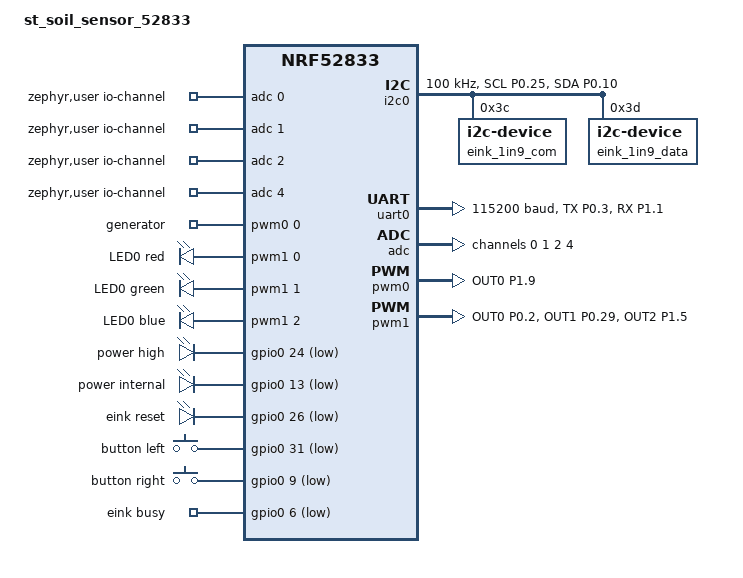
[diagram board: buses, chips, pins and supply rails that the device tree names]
// Copyright (c) 2023 Nordic Semiconductor ASA
// SPDX-License-Identifier: Apache-2.0

/dts-v1/;
#include <nordic/nrf52833_qiaa.dtsi>

/ {
	model = "st_soil_sensor_52833";
	compatible = "st-soil-sensor-52833";

	zephyr,user{
		io-channels = <&adc 0>, <&adc 1>, <&adc 2>, <&adc 4>;
        pwms = <&pwm0 0 1000 PWM_POLARITY_NORMAL>;
        pwm-names = "generator";
	};

	chosen {
		zephyr,sram = &sram0;
		zephyr,flash = &flash0;
		zephyr,code-partition = &slot0_partition;
		zephyr,console = &uart0;
	};

	pwmleds {
		compatible = "pwm-leds";
		status = "okay";
	
		led_pwm_0: led_pwm0 {
				status = "okay";
				pwms = <&pwm1 0 PWM_USEC(256) PWM_POLARITY_NORMAL>;
				label = "LED0 red";
		};
	
		led_pwm_1: led_pwm1 {
				status = "okay";
				pwms = <&pwm1 1 PWM_USEC(256) PWM_POLARITY_NORMAL>;
				label = "LED0 green";
		};
	
		led_pwm_2: led_pwm2 {
				status = "okay";
				pwms = <&pwm1 2 PWM_USEC(256) PWM_POLARITY_NORMAL>;
				label = "LED0 blue";
		};
	};

	outputs {
		compatible = "gpio-leds";
		 power_high_out: power_high {
			 gpios = <&gpio0 24 GPIO_ACTIVE_LOW>;
			 label = "power high";
		};   	 		        
		power_internal_out: power_internal {
			 gpios = <&gpio0 13 GPIO_ACTIVE_LOW>;
			 label = "power internal";
		};   	 		 	 		        
		eink_rst_out: eink_rst {
			 gpios = <&gpio0 26 GPIO_ACTIVE_LOW>;
			 label = "eink reset";
		};   	 				 	 		         		
	 };  

	buttons {
		compatible = "gpio-keys";
		button0: button_0 {
			gpios = <&gpio0 31 (GPIO_PULL_UP | GPIO_ACTIVE_LOW)>;
			label = "button left";
		};
		button1: button_1 {
			gpios = <&gpio0 9 (GPIO_PULL_UP | GPIO_ACTIVE_LOW)>;
			label = "button right";
		};
		eink_busy_in: eink_busy {
			gpios = <&gpio0 6 GPIO_ACTIVE_LOW>;
			label = "eink busy";
	   };   	
	};

	/* These aliases are provided for compatibility with samples */
	aliases {
		pwm-led-r = &led_pwm_0;
		pwm-led-g = &led_pwm_1;
		pwm-led-b = &led_pwm_2;
		button-left = &button0;
		button-right = &button1;
	};
};

&gpiote {
    status = "okay";
};

&gpio0 {
	status = "okay";
};

&gpio1 {
	status = "okay";
};

&i2c0 {
	status = "okay";
	pinctrl-0 = <&i2c0_default>;
	pinctrl-1 = <&i2c0_sleep>;
	pinctrl-names = "default", "sleep";
	clock-frequency = <I2C_BITRATE_STANDARD>;
	eink_1in9_com_i2c: eink@3C{
		status = "okay";
        compatible = "i2c-device";
        reg = < 0x3C >;
        label = "eink_1in9_com";
    };
	eink_1in9_data_i2c: eink@3D{
		status = "okay";
        compatible = "i2c-device";
        reg = < 0x3D >;
        label = "eink_1in9_data";
    };
};


&uart0 {
	status = "okay";
	// tx-pin = < 3 >;
	current-speed = <115200>;
	pinctrl-0 = < &uart0_default >;
	pinctrl-1 = <&uart0_sleep>;
	pinctrl-names = "default", "sleep";
};

&adc {
	status = "okay";
	#address-cells = <1>;
	#size-cells = <0>;

	channel@0 {
		reg = <0>;
		zephyr,gain = "ADC_GAIN_1_6";
		zephyr,reference = "ADC_REF_INTERNAL";
		// zephyr,acquisition-time = <ADC_ACQ_TIME(ADC_ACQ_TIME_MICROSECONDS, 20)>;
		zephyr,acquisition-time = < ADC_ACQ_TIME_DEFAULT >;
		zephyr,input-positive = <NRF_SAADC_AIN2>; /* P0.05 */
		zephyr,resolution = <12>;
	};

	channel@1 {
		reg = <1>;
		zephyr,gain = "ADC_GAIN_1_6";
		zephyr,reference = "ADC_REF_INTERNAL";
		// zephyr,acquisition-time = <ADC_ACQ_TIME(ADC_ACQ_TIME_MICROSECONDS, 20)>;
		zephyr,acquisition-time = < ADC_ACQ_TIME_DEFAULT >;
		zephyr,input-positive = <NRF_SAADC_AIN3>; /* P0.05 */
		zephyr,resolution = <12>;
	};

	channel@2 {
		reg = <2>;
		zephyr,gain = "ADC_GAIN_1_6";
		zephyr,reference = "ADC_REF_INTERNAL";
		// zephyr,acquisition-time = <ADC_ACQ_TIME(ADC_ACQ_TIME_MICROSECONDS, 20)>;
		zephyr,acquisition-time = < ADC_ACQ_TIME_DEFAULT >;
		zephyr,input-positive = <NRF_SAADC_AIN6>; /* P0.05 */
		zephyr,resolution = <12>;
	};

	channel@4 {
		reg = <4>;
		zephyr,gain = "ADC_GAIN_1_6";
		zephyr,reference = "ADC_REF_INTERNAL";
		// zephyr,acquisition-time = <ADC_ACQ_TIME(ADC_ACQ_TIME_MICROSECONDS, 20)>;
		zephyr,acquisition-time = < ADC_ACQ_TIME_DEFAULT >;
		zephyr,input-positive = <NRF_SAADC_VDD>; 
		zephyr,resolution = <12>;
	};
};


// SOMETHINKG NOT WORK WITH THAT
&pinctrl {
	pwm1_default: pwm1_default_alt {
		group1 {
				psels = <NRF_PSEL(PWM_OUT0, 0, 2)>,
						<NRF_PSEL(PWM_OUT1, 0, 29)>,
						<NRF_PSEL(PWM_OUT2, 1, 5)>;
				nordic,invert;
		};
	};
	pwm1_sleep: pwm1_sleep {
		group1 {
			psels = <NRF_PSEL(PWM_OUT0, 0, 2)>,
			<NRF_PSEL(PWM_OUT1, 0, 29)>,
			<NRF_PSEL(PWM_OUT2, 1, 5)>;
			nordic,invert;	
			low-power-enable;
		};
	};
	pwm0_default: pwm0_default_alt {
		group0 {
			psels = <NRF_PSEL(PWM_OUT0, 1, 9)>;
		};
	};
	pwm0_sleep: pwm0_sleep {
		group1 {
			psels = <NRF_PSEL(PWM_OUT0, 1, 9)>;
			nordic,invert;
			low-power-enable;
		};
	};
	uart0_default: uart0_default {
        group1 {
            psels = <NRF_PSEL(UART_TX, 0, 3)>;
        };
        group2 {
            psels = <NRF_PSEL(UART_RX, 1, 1)>;
            bias-pull-up;
        };
    };
	uart0_sleep: uart0_sleep {
		group1 {
            psels = <NRF_PSEL(UART_TX, 0, 3)>;
    		low-power-enable;
		};
        group2 {
            psels = <NRF_PSEL(UART_RX, 1, 1)>;
            bias-pull-up;
			low-power-enable;
	    };
	};

	i2c0_default: i2c0_default {
		group1 {
			psels = <NRF_PSEL(TWIM_SCL, 0, 25)>, <NRF_PSEL(TWIM_SDA, 0, 10)>;
		};
	};

	i2c0_sleep: i2c0_sleep {
		group1 {
			psels = <NRF_PSEL(TWIM_SCL, 0, 25)>, <NRF_PSEL(TWIM_SDA, 0, 10)>;
			low-power-enable;
		};
	};
};

&pwm0 {
    status = "okay";
    // ch0-pin = < 41 >;
	pinctrl-0 = < &pwm0_default >;	
	pinctrl-1 = < &pwm0_sleep >;
	pinctrl-names = "default", "sleep";
};

&pwm1 {
	status = "okay";
	// ch0-pin = < 2 >;
	// ch1-pin = < 29 >;
	// ch2-pin = < 37 >;
	pinctrl-0 = <&pwm1_default>;
	pinctrl-1 = <&pwm1_sleep>;
	pinctrl-names = "default", "sleep";

	// pinctrl-names = "default";
};



&flash0 {
	partitions {
		compatible = "fixed-partitions";
		#address-cells = <1>;
		#size-cells = <1>;

		boot_partition: partition@0 {
			label = "mcuboot";
			reg = <0x0 0xc000>;
		};
		slot0_partition: partition@c000 {
			label = "image-0";
			reg = <0xc000 0x32000>;
		};
		slot1_partition: partition@3e000 {
			label = "image-1";
			reg = <0x3e000 0x32000>;
		};
		scratch_partition: partition@70000 {
			label = "image-scratch";
			reg = <0x70000 0xa000>;
		};
		storage_partition: partition@7a000 {
			label = "storage";
			reg = <0x7a000 0x6000>;
		};
	};
};

